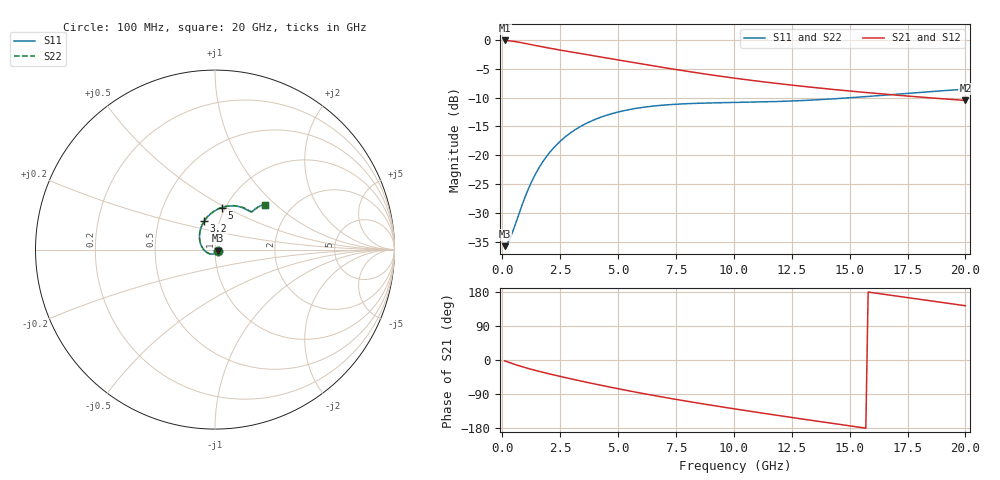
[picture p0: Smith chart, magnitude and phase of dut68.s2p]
! Touchstone file exported from HFSS 2023.1.0
!  File:  D:/Users/fzz/RDL_TSV/temp_RDL_TSV_68_1778746651.aedt
!  Generated:  4:26:26 %x4E0B%x5348  5%x6708 14, 2026
!  Design:  RDL_TSV
!  Project:  temp_RDL_TSV_68_1778746651
!  Setup:  Setup1
!  Solution:  Sweep
! Variables:
!  dtsv = 21.8um
!  hbump = 3um
!  htsv = 64.86um
!  ldown = 290.73um
!  lrdl = 490.7um
!  p = 40
!  p1 = 59.32um
!  rhole = 10um
!  subl = 2834.99um
!  t = 450um
!  tdown = 2.07um
!  trdl = 3.46um
!  viad = 10um
!  wdown = 28.83um
!  wrdl = 18.45um
!  xbump = 18um
# GHz S MA R 50.000000
! Terminal data exported
! Port[1] = TM1_1_T1
! Port[2] = TM1_4_T1
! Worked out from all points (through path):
!   200 points, 100 MHz to 20 GHz, reference 50 ohm
!   highest |S21| = -0.15 dB at 100 MHz (marker M1); lowest = -10.5 dB at 20 GHz (marker M2)
!   group delay of S21, straight-line fit = 28.3 ps
!   lowest |S11| = -35.7 dB at 100 MHz (marker M3), VSWR 1.03, Z = 51.6 - j0.564 ohm
!   |S11| at or under -10 dB: start of sweep to 15.16 GHz
!   |S22| runs from -35.7 to -8.5 dB; largest |S21 - S12| = 1e-14
!   S11 on the Smith chart (normalised r, x): 100 MHz: 1.03, -0.01; 3.2 GHz: 0.85, +0.28; 5 GHz: 0.96, +0.48; 20 GHz: 1.47, +0.86
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0.1  0.01648 -19.4  0.9828 -2.2  0.9828 -2.2  0.01648 -19.4
! Gamma 0 0 0 0
! Port Impedance 50 0 50 0
0.2  0.01721 -40.8  0.9801 -4.5  0.9801 -4.5  0.01717 -40.8
0.4  0.02072 -79.1  0.9706 -8.7  0.9706 -8.7  0.02068 -79.2
0.8  0.03484 -135.6  0.9422 -16.6  0.9422 -16.6  0.03485 -135.7
1.2  0.05551 -171.4  0.9087 -23.7  0.9087 -23.7  0.05563 -171.5
1.6  0.07912 164.1  0.8758 -30.2  0.8758 -30.2  0.07938 164.0
1.9  0.09731 150.1  0.853 -34.7  0.853 -34.7  0.09768 150.0
2.3  0.1211 135.1  0.8248 -40.5  0.8248 -40.5  0.1216 135.1
2.7  0.1436 123.0  0.7988 -46.1  0.7988 -46.1  0.1443 123.0
3.2  0.1693 110.7  0.7682 -52.9  0.7682 -52.9  0.1702 110.7
3.5  0.1834 104.4  0.7505 -56.9  0.7505 -56.9  0.1844 104.4
4.2  0.2118 92.0  0.7109 -65.9  0.7109 -65.9  0.2131 92.0
5  0.237 80.8  0.6678 -75.8  0.6678 -75.8  0.2386 80.8
5.9  0.2572 70.9  0.6224 -86.4  0.6224 -86.4  0.2589 70.9
6.8  0.2702 63.3  0.5808 -96.4  0.5808 -96.4  0.2721 63.2
8.4  0.2818 54.0  0.517 -113.1  0.517 -113.1  0.2839 53.9
10.1  0.2867 48.6  0.4626 -129.6  0.4626 -129.6  0.2888 48.5
11.7  0.2914 46.4  0.4218 -144.4  0.4218 -144.4  0.2934 46.2
13.4  0.3007 45.6  0.3868 -159.7  0.3868 -159.7  0.3024 45.4
15  0.3146 45.4  0.3598 -173.7  0.3598 -173.7  0.3161 45.2
16.7  0.3335 44.9  0.3357 171.5  0.3357 171.5  0.3348 44.7
20  0.3732 42.3  0.2983 143.3  0.2983 143.3  0.3743 42.1
